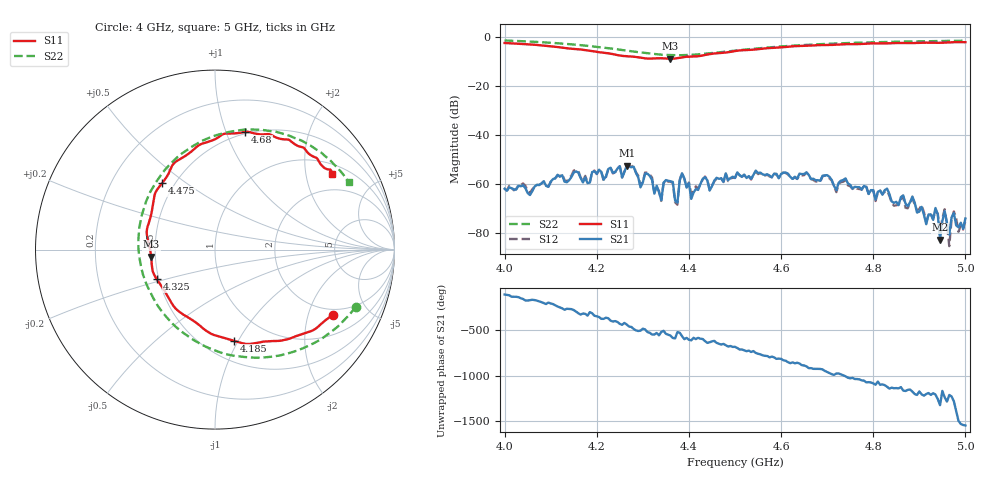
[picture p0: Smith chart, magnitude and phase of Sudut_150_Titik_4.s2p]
# Hz S RI R 50
! CMT, C1220, 16058040, 17.2.0/1
! Date: 15/08/2018 12:29:41
! Data: Format (Calibration Info)
! Freq  S11: Re/Im (F2)  S21: Re/Im (F2)  S12: Re/Im (F2)  S22: Re/Im (F2)
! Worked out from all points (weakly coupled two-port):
!   201 points, 4 GHz to 5 GHz, reference 50 ohm
!   highest |S21| = -52.52 dB at 4.265 GHz (marker M1); lowest = -82.7 dB at 4.945 GHz (marker M2)
!   lowest |S11| = -8.9 dB at 4.36 GHz (marker M3), VSWR 2.11, Z = 23.7 - j2.16 ohm
!   |S11| at or under -10 dB: nowhere
!   |S22| runs from -7.5 to -1.5 dB; largest |S21 - S12| = 0.00019
!   S11 on the Smith chart (normalised r, x): 4 GHz: 1.76, -2.92; 4.185 GHz: 0.69, -0.97; 4.325 GHz: 0.49, -0.19; 4.475 GHz: 0.43, +0.41; 4.68 GHz: 0.48, +1.17; 5 GHz: 1.33, +2.83
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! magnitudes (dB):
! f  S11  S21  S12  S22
! 4 GHz  -2.5  -61.9  -61.9  -1.5
! 4.17 GHz  -5.3  -59.3  -58.8  -3.5
! 4.185 GHz  -5.7  -59.4  -59.2  -3.7
! 4.265 GHz  -7.9  -52.5  -52.3  -5.6
! 4.325 GHz  -8.8  -64.0  -63.4  -7.0
! 4.335 GHz  -8.7  -63.3  -62.8  -7.2
! 4.36 GHz  -8.9  -58.9  -59.0  -7.4
! 4.375 GHz  -8.7  -67.6  -68.5  -7.5
! 4.385 GHz  -8.4  -55.6  -55.6  -7.5
! 4.405 GHz  -8.0  -66.1  -63.9  -7.3
! 4.475 GHz  -6.5  -59.1  -59.2  -6.1
! 4.5 GHz  -5.8  -57.5  -57.5  -5.6
! 4.67 GHz  -3.5  -57.8  -58.4  -3.1
! 4.68 GHz  -3.4  -58.4  -59.1  -3.0
! 4.835 GHz  -2.6  -64.0  -64.8  -2.0
! 4.915 GHz  -2.4  -76.4  -75.1  -1.8
! 4.935 GHz  -2.4  -69.8  -71.0  -1.7
! 4.945 GHz  -2.4  -82.7  -79.6  -1.7
! 4.955 GHz  -2.3  -71.1  -70.3  -1.7
! 4.965 GHz  -2.2  -80.6  -85.4  -1.6
! 4.975 GHz  -2.1  -72.0  -71.2  -1.6
! 5 GHz  -2.2  -74.1  -74.9  -1.6
